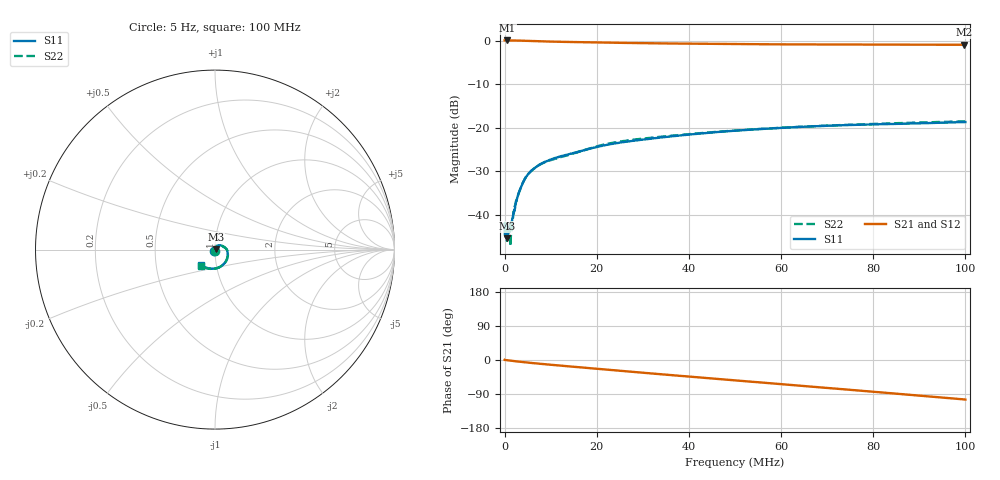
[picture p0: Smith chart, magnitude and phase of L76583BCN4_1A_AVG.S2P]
!Agilent Technologies,E5061B,MY49102235,A.02.00
!Date: Tue Jul 11 17:01:35 2023
!Data & Calibration Information:
!Freq	S11:SOLT2(ON)	S21:SOLT2(ON)	S12:SOLT2(ON)	S22:SOLT2(ON)
# Hz S RI R 50
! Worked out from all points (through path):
!   1600 points, 5 Hz to 100 MHz, reference 50 ohm
!   highest |S21| = 0.02 dB at 625.4 kHz (marker M1); lowest = -1.0 dB at 99.75 MHz (marker M2)
!   group delay of S21, straight-line fit = 2.83 ns
!   lowest |S11| = -45.3 dB at 500.3 kHz (marker M3), VSWR 1.01, Z = 50.5 + j0.26 ohm
!   |S11| at or under -10 dB: start of sweep to end of sweep
!   |S22| runs from -47.2 to -18.5 dB; largest |S21 - S12| = 0.0027
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5  -0.00522 -0.00563  1.002 0.00802  1.001 0.0102  -0.00146 -0.00757
500317.7  0.00476 0.00257  1.001 -0.0108  1.002 -0.0107  0.00492 0.00101
625395.8  0.00529 0.00318  1.002 -0.0143  1.002 -0.014  0.00629 0.00282
938091.3  0.00463 0.00525  1.001 -0.0208  1.001 -0.0203  0.0062 0.00467
1250787  0.00485 0.00548  1 -0.0276  1 -0.0276  0.00244 0.00363
1688560  0.00463 0.00762  0.9999 -0.0397  1 -0.0397  0.00435 0.00677
1938717  0.00414 0.00966  1.001 -0.0457  1 -0.0452  0.00446 0.00991
2251412  0.00467 0.0108  0.9991 -0.0543  0.9987 -0.0531  0.00513 0.0116
2814264  0.00702 0.0146  0.9961 -0.0678  0.9963 -0.0669  0.00606 0.0149
3439655  0.00931 0.0179  0.9938 -0.0823  0.9939 -0.0823  0.00819 0.0183
4065045  0.012 0.0206  0.9903 -0.0971  0.9901 -0.0968  0.0114 0.021
5315827  0.0187 0.0236  0.9815 -0.124  0.9814 -0.1237  0.0182 0.024
7442156  0.0281 0.0243  0.967 -0.1649  0.9669 -0.1647  0.0278 0.0248
9380868  0.035 0.0228  0.9539 -0.2001  0.9536 -0.1998  0.0345 0.023
1.669794e7  0.0525 0.0131  0.9011 -0.3234  0.9009 -0.3231  0.0522 0.013
2.345216e7  0.0652 -0.000762  0.8425 -0.4269  0.8423 -0.4265  0.0671 -0.00188
3.333334e7  0.0709 -0.0289  0.7416 -0.5588  0.7415 -0.5585  0.0722 -0.03
5.003127e7  0.0541 -0.0748  0.5384 -0.7346  0.5383 -0.7343  0.054 -0.0757
6.672921e7  0.011 -0.1029  0.3017 -0.8493  0.302 -0.8491  0.0118 -0.1032
8.33646e7  -0.0352 -0.1043  0.0435 -0.8959  0.0435 -0.8959  -0.0349 -0.1063
9.974984e7  -0.0759 -0.0877  -0.2173 -0.8671  -0.217 -0.8672  -0.0759 -0.0905
1e8  -0.0764 -0.0874  -0.2212 -0.8662  -0.221 -0.8662  -0.0766 -0.0901
